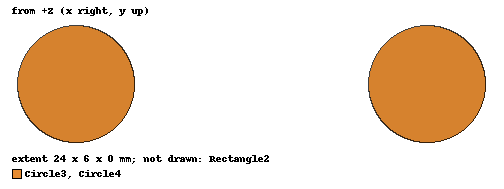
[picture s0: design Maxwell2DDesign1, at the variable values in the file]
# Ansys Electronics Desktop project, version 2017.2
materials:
  vacuum: permittivity=1
  copper: permeability=0.999991 conductivity=58000000
  air: permittivity=1.0006 permeability=1.0000004

design Maxwell2DDesign1 (Maxwell 2D, Electrostatic, XY geometry, model units mm)
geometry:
  Circle3 [copper] = circle(normal=Z, centre=(9mm, 10mm, 0mm), radius=3mm)
  Circle4 [copper] = circle(normal=Z, centre=(-9mm, 10mm, 0mm), radius=3mm)
  Rectangle2 [air] = rectangle(corner=(-32mm, -14mm, 0mm), x_size=64mm, y_size=48mm)
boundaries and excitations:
  Voltage1: Voltage Objects=Circle4 Value=1V
  Voltage2: Voltage Objects=Circle3 Value=-1V
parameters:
  Matrix1: Matrix GroundSources(12); Voltage2: NumberOfTurns=1
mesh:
  initial mesh: GlobalSurfApproximation{CurvedSurfaceApproxChoice=UseSlider SliderMeshSettings=9} MeshMethod=AnsoftClassic
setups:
  Setup1: Electrostatic MaximumPasses=10 MinimumPasses=2 MinimumConvergedPasses=1 PercentRefinement=30 PercentError=0.1 NonLinearResidual=0.001
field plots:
  Voltage1: Voltage over Rectangle2 on Setup1 : LastAdaptive
